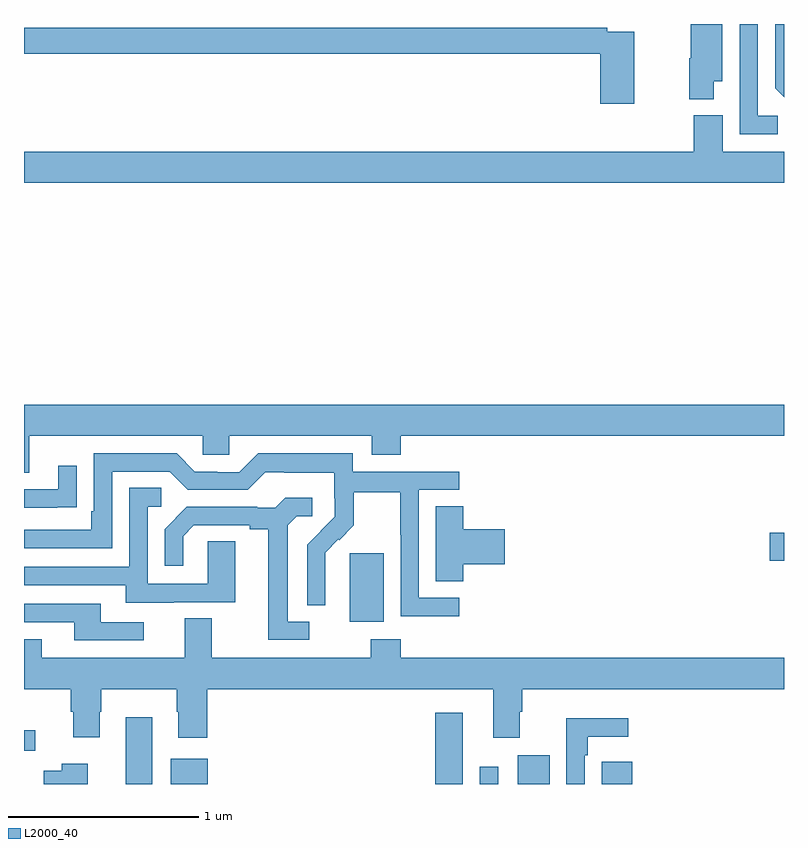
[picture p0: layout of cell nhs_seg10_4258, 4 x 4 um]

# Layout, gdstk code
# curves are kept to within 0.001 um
import gdstk
lib = gdstk.Library(unit=1e-6, precision=1e-09)
def R(c, l, rs):  # rectangles x0, y0, x1, y1
    for r in rs: c.add(gdstk.rectangle(r[:2], r[2:], *l))
def P(c, l, *ps):  # polygons
    for p in ps: c.add(gdstk.Polygon(p, *l))
L2000_40 = (2000, 40)

nhs_seg10_4258 = lib.new_cell('nhs_seg10_4258')
R(nhs_seg10_4258, L2000_40, [(349.535,1282.5,349.675,1282.852), (349.772,1282.5,349.966,1282.633), (351.164,1282.5,351.31,1282.876), (351.399,1282.5,351.495,1282.591), (351.599,1282.5,351.766,1282.651), (349,1282.674,349.06,1282.784), (350.714,1283.354,350.893,1283.715), (352.926,1283.675,353,1283.822)])
P(nhs_seg10_4258, L2000_40, [(352.63,1286.198),(352.675,1286.198),(352.675,1286.5),(352.508,1286.5),(352.508,1286.319),(352.501,1286.319),(352.501,1286.105),(352.63,1286.105)],
  [(353,1286.5),(352.953,1286.5),(352.953,1286.162),(353,1286.114)],
  [(352.966,1286.016),(352.863,1286.016),(352.863,1286.5),(352.767,1286.5),(352.767,1285.92),(352.966,1285.92)],
  [(352.212,1286.46),(352.07,1286.46),(352.07,1286.48),(349,1286.48),(349,1286.344),(352.034,1286.344),(352.034,1286.079),(352.212,1286.079)],
  [(353,1285.828),(352.678,1285.828),(352.678,1286.02),(352.526,1286.02),(352.526,1285.828),(349,1285.828),(349,1285.664),(353,1285.664)],
  [(349,1284.138),(349.027,1284.138),(349.027,1284.332),(349.941,1284.332),(349.941,1284.234),(350.079,1284.234),(350.079,1284.332),(350.831,1284.332),(350.831,1284.233),(350.984,1284.233),(350.984,1284.332),(353,1284.332),(353,1284.496),(349,1284.496)],
  [(351.292,1283.481),(351.078,1283.481),(351.078,1284.048),(351.292,1284.048),(351.292,1284.144),(350.73,1284.144),(350.73,1284.241),(350.233,1284.241),(350.133,1284.141),(350.018,1284.141),(350.018,1284.144),(349.899,1284.144),(349.803,1284.24),(349.368,1284.24),(349.368,1283.935),(349.355,1283.935),(349.355,1283.838),(349,1283.838),(349,1283.742),(349.464,1283.742),(349.464,1284.144),(349.767,1284.144),(349.863,1284.048),(350.178,1284.048),(350.271,1284.141),(350.371,1284.141),(350.371,1284.137),(350.634,1284.137),(350.634,1284.003),(350.636,1284.003),(350.636,1283.906),(350.49,1283.758),(350.49,1283.44),(350.586,1283.44),(350.585,1283.717),(350.655,1283.787),(350.658,1283.784),(350.735,1283.861),(350.735,1284.036),(350.98,1284.036),(350.98,1283.812),(350.982,1283.812),(350.982,1283.383),(351.292,1283.383)],
  [(349.175,1283.956),(349.277,1283.956),(349.277,1284.175),(349.181,1284.175),(349.181,1284.051),(349,1284.051),(349,1283.955),(349.175,1283.955)],
  [(349.789,1283.457),(350.113,1283.457),(350.113,1283.777),(349.968,1283.777),(349.968,1283.553),(349.65,1283.553),(349.65,1283.958),(349.723,1283.958),(349.723,1284.059),(349.554,1284.059),(349.554,1283.643),(349,1283.643),(349,1283.547),(349.535,1283.547),(349.535,1283.453),(349.789,1283.453)],
  [(350.5,1283.355),(350.389,1283.355),(350.389,1283.863),(350.436,1283.91),(350.518,1283.91),(350.518,1284.007),(350.374,1284.007),(350.322,1283.955),(350.228,1283.955),(350.228,1283.958),(349.856,1283.958),(349.74,1283.842),(349.74,1283.649),(349.837,1283.649),(349.837,1283.805),(349.894,1283.862),(350.189,1283.862),(350.189,1283.84),(350.285,1283.84),(350.285,1283.259),(350.5,1283.259)],
  [(351.311,1283.657),(351.529,1283.657),(351.529,1283.84),(351.311,1283.84),(351.311,1283.963),(351.167,1283.963),(351.167,1283.566),(351.311,1283.566)],
  [(349.63,1283.352),(349.405,1283.352),(349.405,1283.448),(349,1283.448),(349,1283.352),(349.265,1283.352),(349.265,1283.256),(349.63,1283.256)],
  [(349.964,1283),(351.47,1283),(351.47,1282.743),(351.61,1282.743),(351.61,1282.88),(351.623,1282.88),(351.623,1283),(353,1283),(353,1283.164),(350.984,1283.164),(350.984,1283.263),(350.824,1283.263),(350.824,1283.164),(349.987,1283.164),(349.987,1283.372),(349.847,1283.372),(349.847,1283.164),(349.093,1283.164),(349.093,1283.263),(349,1283.263),(349,1283),(349.247,1283),(349.247,1282.881),(349.259,1282.881),(349.259,1282.746),(349.399,1282.746),(349.399,1282.881),(349.407,1282.881),(349.407,1283),(349.804,1283),(349.804,1282.88),(349.811,1282.88),(349.811,1282.743),(349.964,1282.743)],
  [(351.951,1282.652),(351.967,1282.652),(351.967,1282.748),(352.18,1282.748),(352.18,1282.846),(351.855,1282.846),(351.855,1282.5),(351.951,1282.5)],
  [(352.202,1282.618),(352.041,1282.618),(352.041,1282.505),(352.04,1282.505),(352.04,1282.5),(352.202,1282.5)],
  [(349.336,1282.606),(349.199,1282.606),(349.199,1282.569),(349.103,1282.569),(349.103,1282.5),(349.336,1282.5)])

lib.write_gds('nhs_seg10_4258.gds')
